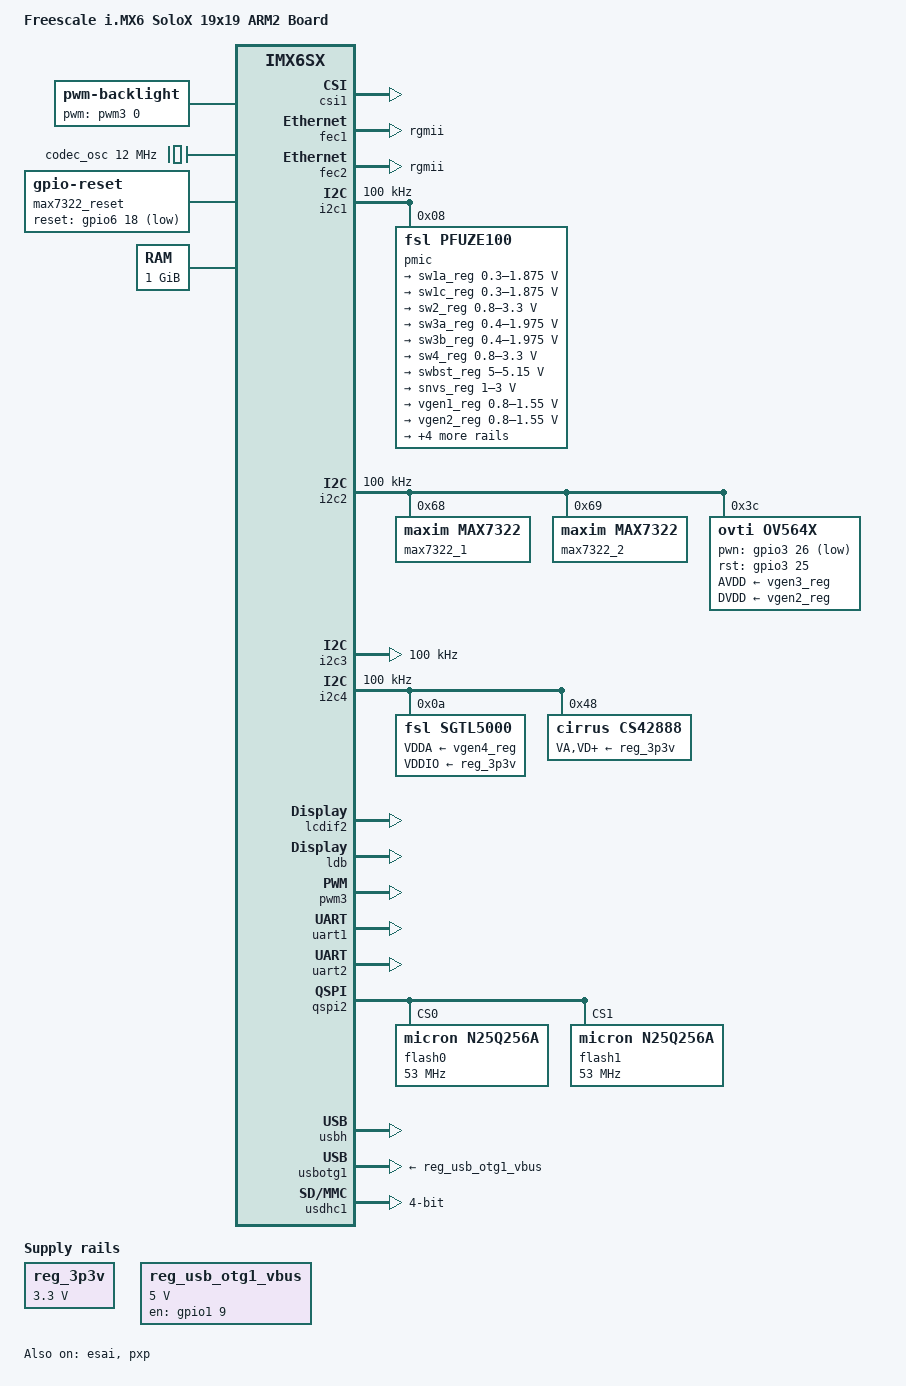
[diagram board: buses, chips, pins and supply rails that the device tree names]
/*
 * Copyright (C) 2014 Freescale Semiconductor, Inc.
 *
 * This program is free software; you can redistribute it and/or modify
 * it under the terms of the GNU General Public License version 2 as
 * published by the Free Software Foundation.
 */

/dts-v1/;

#include "imx6sx.dtsi"

/ {
	model = "Freescale i.MX6 SoloX 19x19 ARM2 Board";
	compatible = "fsl,imx6sx-19x19-arm2", "fsl,imx6sx";

	backlight {
		compatible = "pwm-backlight";
		pwms = <&pwm3 0 5000000>;
		brightness-levels = <0 4 8 16 32 64 128 255>;
		default-brightness-level = <6>;
	};

	csi1_v4l2_cap {
		compatible = "fsl,imx6sx-csi-v4l2", "fsl,imx6sl-csi-v4l2";
		status = "okay";
	};

	hannstar_cabc {
		compatible = "hannstar,cabc";

		lvds0 {
			gpios = <&gpio2 16 GPIO_ACTIVE_HIGH>;
		};
	};

	clocks {
	        codec_osc: codec_osc {
		        #clock-cells = <0>;
		        compatible = "fixed-clock";
		        clock-frequency = <12000000>;
		};
	};

	max7322_reset: max7322-reset {
		compatible = "gpio-reset";
		reset-gpios = <&gpio6 18 GPIO_ACTIVE_LOW>;
		reset-delay-us = <1>;
		#reset-cells = <0>;
	};

	pxp_v4l2_out {
		compatible = "fsl,imx6sx-pxp-v4l2", "fsl,imx6sl-pxp-v4l2";
		status = "okay";
	};

	regulators {
		compatible = "simple-bus";

		reg_3p3v: 3p3v {
			compatible = "regulator-fixed";
			regulator-name = "3P3V";
			regulator-min-microvolt = <3300000>;
			regulator-max-microvolt = <3300000>;
			regulator-always-on;
		};

		reg_usb_otg1_vbus: usb_otg1_vbus {
			compatible = "regulator-fixed";
			regulator-name = "usb_otg1_vbus";
			regulator-min-microvolt = <5000000>;
			regulator-max-microvolt = <5000000>;
			gpio = <&gpio1 9 0>;
			enable-active-high;
		};
	};

	memory {
		reg = <0x80000000 0x40000000>;
	};

	sound-cs42888 {
		compatible = "fsl,imx6-sabreauto-cs42888",
				"fsl,imx-audio-cs42888";
		model = "imx-cs42888";
		esai-controller = <&esai>;
		asrc-controller = <&asrc_p2p>;
		audio-codec = <&cs42888>;
	};

	sound-sgtl5000 {
		compatible = "fsl,imx6sx-arm2-sgtl5000",
			   "fsl,imx-audio-sgtl5000";
		model = "imx6sx-arm2-sgtl5000";
		cpu-dai = <&sai1>;
		audio-codec = <&sgtl5000>;
		audio-routing =
			"LINE_IN", "Line In Jack",
			"Headphone Jack", "HP_OUT";
	};
};

&esai {
	pinctrl-names = "default";
	pinctrl-0 = <&pinctrl_esai_1>;
	status = "okay";
};

&csi1 {
	status = "okay";
};

&fec1 {
	pinctrl-names = "default";
	pinctrl-0 = <&pinctrl_enet1_1>;
	phy-mode = "rgmii";
	phy-id = <1>;
	fsl,num_tx_queues=<3>;
	fsl,num_rx_queues=<3>;
	pinctrl-assert-gpios = <&max7322_1 0 GPIO_ACTIVE_HIGH>;
	status = "okay";
};

&fec2 {
	pinctrl-names = "default";
	pinctrl-0 = <&pinctrl_enet2_1>;
	phy-mode = "rgmii";
	phy-id = <0>;
	fsl,num_tx_queues=<3>;
	fsl,num_rx_queues=<3>;
	pinctrl-assert-gpios = <&max7322_2 0 GPIO_ACTIVE_HIGH>;
	status = "okay";
};

&gpc {
	fsl,cpu_pupscr_sw2iso = <0xf>;
	fsl,cpu_pupscr_sw = <0xf>;
	fsl,cpu_pdnscr_iso2sw = <0x1>;
	fsl,cpu_pdnscr_iso = <0x1>;
	fsl,wdog-reset = <1>; /* watchdog select of reset source */
};

&i2c1 {
        clock-frequency = <100000>;
        pinctrl-names = "default";
        pinctrl-0 = <&pinctrl_i2c1_1>;
        status = "okay";

	pmic: pfuze100@08 {
		compatible = "fsl,pfuze100";
		reg = <0x08>;

		regulators {
			sw1a_reg: sw1ab {
				regulator-min-microvolt = <300000>;
				regulator-max-microvolt = <1875000>;
				regulator-boot-on;
				regulator-always-on;
				regulator-ramp-delay = <6250>;
			};

			sw1c_reg: sw1c {
				regulator-min-microvolt = <300000>;
				regulator-max-microvolt = <1875000>;
				regulator-boot-on;
				regulator-always-on;
				regulator-ramp-delay = <6250>;
			};

			sw2_reg: sw2 {
				regulator-min-microvolt = <800000>;
				regulator-max-microvolt = <3300000>;
				regulator-boot-on;
				regulator-always-on;
			};

			sw3a_reg: sw3a {
				regulator-min-microvolt = <400000>;
				regulator-max-microvolt = <1975000>;
				regulator-boot-on;
				regulator-always-on;
			};

			sw3b_reg: sw3b {
				regulator-min-microvolt = <400000>;
				regulator-max-microvolt = <1975000>;
				regulator-boot-on;
				regulator-always-on;
			};

			sw4_reg: sw4 {
				regulator-min-microvolt = <800000>;
				regulator-max-microvolt = <3300000>;
			};

			swbst_reg: swbst {
				regulator-min-microvolt = <5000000>;
				regulator-max-microvolt = <5150000>;
			};

			snvs_reg: vsnvs {
				regulator-min-microvolt = <1000000>;
				regulator-max-microvolt = <3000000>;
				regulator-boot-on;
				regulator-always-on;
			};

			vref_reg: vrefddr {
				regulator-boot-on;
				regulator-always-on;
			};

			vgen1_reg: vgen1 {
				regulator-min-microvolt = <800000>;
				regulator-max-microvolt = <1550000>;
			};

			vgen2_reg: vgen2 {
				regulator-min-microvolt = <800000>;
				regulator-max-microvolt = <1550000>;
			};

			vgen3_reg: vgen3 {
				regulator-min-microvolt = <1800000>;
				regulator-max-microvolt = <3300000>;
				regulator-always-on;
			};

			vgen4_reg: vgen4 {
				regulator-min-microvolt = <1800000>;
				regulator-max-microvolt = <3300000>;
				regulator-always-on;
			};

			vgen5_reg: vgen5 {
				regulator-min-microvolt = <1800000>;
				regulator-max-microvolt = <3300000>;
				regulator-always-on;
			};

			vgen6_reg: vgen6 {
				regulator-min-microvolt = <1800000>;
				regulator-max-microvolt = <3300000>;
				regulator-always-on;
			};
		};
	};
};

&i2c2 {
	clock-frequency = <100000>;
	pinctrl-names = "default";
	pinctrl-0 = <&pinctrl_i2c2_1>;
	status = "okay";

	max7322_1: gpio@68 {
		compatible = "maxim,max7322";
		reg = <0x68>;
		gpio-controller;
		#gpio-cells = <2>;
		resets = <&max7322_reset>;
	};

	max7322_2: gpio@69 {
		compatible = "maxim,max7322";
		reg = <0x69>;
		gpio-controller;
		#gpio-cells = <2>;
		resets = <&max7322_reset>;
	};

	ov564x: ov564x@3c {
		compatible = "ovti,ov564x";
		reg = <0x3c>;
		pinctrl-names = "default";
		pinctrl-0 = <&pinctrl_csi_1>;
		clocks = <&clks IMX6SX_CLK_CSI>;
		clock-names = "csi_mclk";
		AVDD-supply = <&vgen3_reg>;  /* 2.8v */
		DVDD-supply = <&vgen2_reg>;  /* 1.5v*/
		pwn-gpios = <&gpio3 26 1>;
		rst-gpios = <&gpio3 25 0>;
		csi_id = <0>;
		mclk = <24000000>;
		mclk_source = <0>;
	};
};

&i2c3 {
	clock-frequency = <100000>;
	pinctrl-names = "default";
	pinctrl-0 = <&pinctrl_i2c3_1>;
	status = "okay";
};

&i2c4 {
	clock-frequency = <100000>;
	pinctrl-names = "default";
	pinctrl-0 = <&pinctrl_i2c4_2>;
	status = "okay";

	sgtl5000: sgtl5000@0a {
		compatible = "fsl,sgtl5000";
		reg = <0x0a>;
		clocks = <&codec_osc>;
		VDDA-supply = <&vgen4_reg>;
		VDDIO-supply = <&reg_3p3v>;
	};

	cs42888: cs42888@048 {
		compatible = "cirrus,cs42888";
		reg = <0x048>;
		clocks = <&clks IMX6SX_CLK_ESAI>;
		clock-names = "esai";
		VA-supply = <&reg_3p3v>;
		VD-supply = <&reg_3p3v>;
		VLS-supply = <&reg_3p3v>;
		VLC-supply = <&reg_3p3v>;
	};
};

&iomuxc {
	pinctrl-names = "default";
	pinctrl-0 = <&pinctrl_hog_1>;

	hog {
		pinctrl_hog_1: hoggrp-1 {
			fsl,pins = <
				MX6SX_PAD_SD4_DATA4__GPIO6_IO_18     0x1b0b0
				MX6SX_PAD_KEY_ROW1__GPIO2_IO_16      0x1b0b0
			 >;
		};
	};
};

&lcdif1 {
	pinctrl-names = "default";
	pinctrl-0 = <&pinctrl_lcdif_dat_0
		     &pinctrl_lcdif_ctrl_0>;
	display = <&display0>;
	status = "disabled";

	display0: display {
		bits-per-pixel = <16>;
		bus-width = <24>;

		display-timings {
			native-mode = <&timing0>;
			timing0: timing0 {
				clock-frequency = <33500000>;
				hactive = <800>;
				vactive = <480>;
				hback-porch = <89>;
				hfront-porch = <164>;
				vback-porch = <23>;
				vfront-porch = <10>;
				hsync-len = <10>;
				vsync-len = <10>;
				hsync-active = <0>;
				vsync-active = <0>;
				de-active = <1>;
				pixelclk-active = <0>;
			};
		};
	};
};

&lcdif2 {
	display = <&display1>;
	disp-dev = "ldb";
	status = "okay";

	display1: display {
		bits-per-pixel = <16>;
		bus-width = <18>;
	};
};

&ldb {
	status = "okay";

	lvds-channel@0 {
		fsl,data-mapping = "spwg";
		fsl,data-width = <18>;
		crtc = "lcdif2";
		status = "okay";

		display-timings {
			native-mode = <&timing1>;
			timing1: hsd100pxn1 {
				clock-frequency = <65000000>;
				hactive = <1024>;
				vactive = <768>;
				hback-porch = <220>;
				hfront-porch = <40>;
				vback-porch = <21>;
				vfront-porch = <7>;
				hsync-len = <60>;
				vsync-len = <10>;
			};
		};
	};
};

&pwm3 {
	pinctrl-names = "default";
	pinctrl-0 = <&pinctrl_pwm3_0>;
	status = "okay";
};

&pxp {
	status = "okay";
};

&sai1 {
	pinctrl-names = "default";
	pinctrl-0 = <&pinctrl_sai1_1>;
	status = "disabled";
};

&uart1 {
	pinctrl-names = "default";
	pinctrl-0 = <&pinctrl_uart1_1>;
	status = "okay";
};

&uart2 {
	pinctrl-names = "default";
	pinctrl-0 = <&pinctrl_uart2_1>;
	status = "okay";
};

&qspi2 {
	pinctrl-names = "default";
	pinctrl-0 = <&pinctrl_qspi2_1>;
	status = "okay";

	flash0: n25q256a@0 {
		#address-cells = <1>;
		#size-cells = <1>;
		compatible = "micron,n25q256a";
		spi-max-frequency = <53000000>;
		reg = <0>;
	};

	flash1: n25q256a@1 {
		#address-cells = <1>;
		#size-cells = <1>;
		compatible = "micron,n25q256a";
		spi-max-frequency = <53000000>;
		reg = <1>;
	};
};

&usbh {
	pinctrl-names = "idle", "active";
	pinctrl-0 = <&pinctrl_usbh_1>;
	pinctrl-1 = <&pinctrl_usbh_2>;
	osc-clkgate-delay = <0x3>;
	pad-supply = <&vgen1_reg>;
	status = "okay";
};

&usbotg1 {
	vbus-supply = <&reg_usb_otg1_vbus>;
	pinctrl-names = "default";
	pinctrl-0 = <&pinctrl_usbotg1_1>;
	disable-over-current;
	status = "okay";
};

&usdhc1 {
	pinctrl-names = "default";
	pinctrl-0 = <&pinctrl_usdhc1_1>;
	bus-width = <4>;
	keep-power-in-suspend;
	enable-sdio-wakeup;
	no-1-8-v;
	status = "okay";
};

&weim {
	pinctrl-names = "default";
	pinctrl-0 = <&pinctrl_weim_nor_1 &pinctrl_weim_cs0_1>;
	#address-cells = <2>;
	#size-cells = <1>;
	ranges = <0 0 0x50000000 0x08000000>;
	status = "disabled"; /* pin conflict with qspi, nand and lcd1 */

	nor@0,0 {
		compatible = "cfi-flash";
		reg = <0 0 0x02000000>;
		#address-cells = <1>;
		#size-cells = <1>;
		bank-width = <2>;
		fsl,weim-cs-timing = <0x00610081 0x00000001 0x1c022000
				0x0000c000 0x1404a38e 0x00000000>;
	};
};
